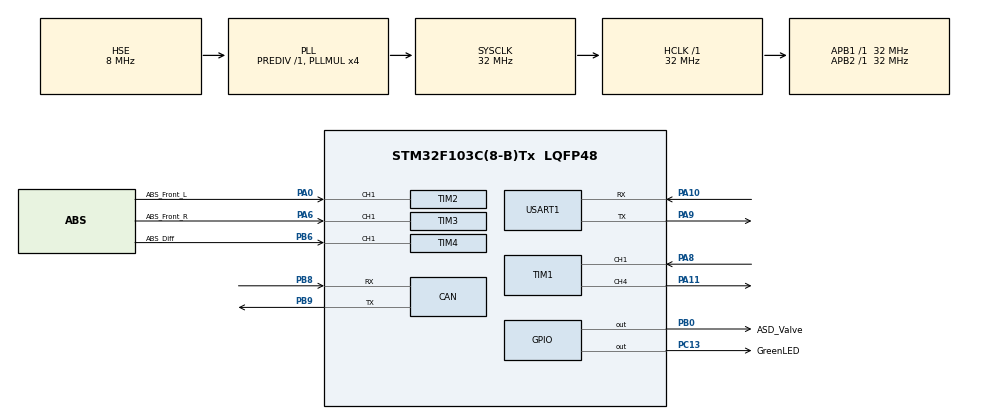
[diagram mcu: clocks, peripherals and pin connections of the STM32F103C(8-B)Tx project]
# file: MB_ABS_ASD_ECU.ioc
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CAN.CalculateTimeBit=1500
CAN.CalculateTimeQuantum=500.0
Mcu.Family=STM32F1
Mcu.Name=STM32F103C(8-B)Tx
Mcu.Package=LQFP48
NVIC.PriorityGroup=NVIC_PRIORITYGROUP_4
NVIC.TIM1_CC_IRQn=true\:0\:0\:false\:false\:true\:true
NVIC.TIM2_IRQn=true\:0\:0\:false\:false\:true\:true
NVIC.TIM3_IRQn=true\:0\:0\:false\:false\:true\:true
NVIC.TIM4_IRQn=true\:0\:0\:false\:false\:true\:true
PA0-WKUP.GPIO_Label=ABS_Front_L
PA0-WKUP.GPIO_PuPd=GPIO_PULLDOWN
PA0-WKUP.Signal=S_TIM2_CH1_ETR
PA10.Mode=Asynchronous
PA10.Signal=USART1_RX
PA11.Signal=S_TIM1_CH4
PA13.Mode=Serial_Wire
PA13.Signal=SYS_JTMS-SWDIO
PA14.Mode=Serial_Wire
PA14.Signal=SYS_JTCK-SWCLK
PA6.GPIO_Label=ABS_Front_R
PA6.GPIO_PuPd=GPIO_PULLDOWN
PA6.Signal=S_TIM3_CH1
PA8.Signal=S_TIM1_CH1
PA9.Mode=Asynchronous
PA9.Signal=USART1_TX
PB0.GPIO_Label=ASD_Valve
PB0.Signal=GPIO_Output
PB6.GPIO_Label=ABS_Diff
PB6.GPIO_PuPd=GPIO_PULLDOWN
PB6.Signal=S_TIM4_CH1
PB8.Mode=Master
PB8.Signal=CAN_RX
PB9.Mode=Master
PB9.Signal=CAN_TX
PC13-TAMPER-RTC.GPIO_Label=GreenLED
PC13-TAMPER-RTC.Signal=GPIO_Output
PC14-OSC32_IN.Mode=LSE-External-Oscillator
PC14-OSC32_IN.Signal=RCC_OSC32_IN
PC15-OSC32_OUT.Mode=LSE-External-Oscillator
PC15-OSC32_OUT.Signal=RCC_OSC32_OUT
PD0-OSC_IN.Mode=HSE-External-Oscillator
PD0-OSC_IN.Signal=RCC_OSC_IN
PD1-OSC_OUT.Mode=HSE-External-Oscillator
PD1-OSC_OUT.Signal=RCC_OSC_OUT
ProjectManager.HeapSize=0x200
ProjectManager.StackSize=0x400
ProjectManager.TargetToolchain=TrueSTUDIO
RCC.AHBFreq_Value=32000000
RCC.APB1Freq_Value=32000000
RCC.APB1TimFreq_Value=32000000
RCC.APB2Freq_Value=32000000
RCC.APB2TimFreq_Value=32000000
RCC.HCLKFreq_Value=32000000
RCC.PLLMUL=RCC_PLL_MUL4
RCC.PLLSourceVirtual=RCC_PLLSOURCE_HSE
RCC.SYSCLKFreq_VALUE=32000000
RCC.SYSCLKSource=RCC_SYSCLKSOURCE_PLLCLK
RCC.USBFreq_Value=32000000
SH.S_TIM1_CH1.0=TIM1_CH1,TriggerSource_TI1FP1
SH.S_TIM1_CH4.0=TIM1_CH4,PWM Generation4 CH4
SH.S_TIM2_CH1_ETR.0=TIM2_CH1,Input_Capture1_from_TI1
SH.S_TIM3_CH1.0=TIM3_CH1,Input_Capture1_from_TI1
SH.S_TIM4_CH1.0=TIM4_CH1,Input_Capture1_from_TI1
TIM1.Channel-PWM\ Generation4\ CH4=TIM_CHANNEL_4
TIM2.Channel-Input_Capture1_from_TI1=TIM_CHANNEL_1
TIM2.ICFilter_CH1=0xf
TIM2.ICPrescaler-Input_Capture1_from_TI1=TIM_ICPSC_DIV8
TIM2.Period=0xffff
TIM2.Prescaler=319
TIM2.TIM_MasterOutputTrigger=TIM_TRGO_RESET
TIM3.Channel-Input_Capture1_from_TI1=TIM_CHANNEL_1
TIM3.ICFilter_CH1=0xf
TIM3.ICPrescaler-Input_Capture1_from_TI1=TIM_ICPSC_DIV8
TIM3.Period=0xffff
TIM3.Prescaler=319
TIM4.Channel-Input_Capture1_from_TI1=TIM_CHANNEL_1
TIM4.ICFilter_CH1=0xf
TIM4.ICPrescaler-Input_Capture1_from_TI1=TIM_ICPSC_DIV8
TIM4.Period=0xffff
TIM4.Prescaler=319
USART1.VirtualMode=VM_ASYNC
VP_TIM1_VS_ClockSourceINT.Mode=Internal
VP_TIM1_VS_ControllerModeReset.Mode=Reset Mode
VP_TIM2_VS_ClockSourceINT.Mode=Internal
VP_TIM3_VS_ClockSourceINT.Mode=Internal
VP_TIM4_VS_ClockSourceINT.Mode=Internal
board=MB_ABS_ASD_ECU

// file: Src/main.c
/**
  ******************************************************************************
  * @file           : main.c
  * @brief          : Main program body
  ******************************************************************************
  ** This notice applies to any and all portions of this file
  * that are not between comment pairs USER CODE BEGIN and
  * USER CODE END. Other portions of this file, whether
  * inserted by the user or by software development tools
  * are owned by their respective copyright owners.
  *
  * COPYRIGHT(c) 2019 STMicroelectronics
  *
  * Redistribution and use in source and binary forms, with or without modification,
  * are permitted provided that the following conditions are met:
  *   1. Redistributions of source code must retain the above copyright notice,
  *      this list of conditions and the following disclaimer.
  *   2. Redistributions in binary form must reproduce the above copyright notice,
  *      this list of conditions and the following disclaimer in the documentation
  *      and/or other materials provided with the distribution.
  *   3. Neither the name of STMicroelectronics nor the names of its contributors
  *      may be used to endorse or promote products derived from this software
  *      without specific prior written permission.
  *
  * THIS SOFTWARE IS PROVIDED BY THE COPYRIGHT HOLDERS AND CONTRIBUTORS "AS IS"
  * AND ANY EXPRESS OR IMPLIED WARRANTIES, INCLUDING, BUT NOT LIMITED TO, THE
  * IMPLIED WARRANTIES OF MERCHANTABILITY AND FITNESS FOR A PARTICULAR PURPOSE ARE
  * DISCLAIMED. IN NO EVENT SHALL THE COPYRIGHT HOLDER OR CONTRIBUTORS BE LIABLE
  * FOR ANY DIRECT, INDIRECT, INCIDENTAL, SPECIAL, EXEMPLARY, OR CONSEQUENTIAL
  * DAMAGES (INCLUDING, BUT NOT LIMITED TO, PROCUREMENT OF SUBSTITUTE GOODS OR
  * SERVICES; LOSS OF USE, DATA, OR PROFITS; OR BUSINESS INTERRUPTION) HOWEVER
  * CAUSED AND ON ANY THEORY OF LIABILITY, WHETHER IN CONTRACT, STRICT LIABILITY,
  * OR TORT (INCLUDING NEGLIGENCE OR OTHERWISE) ARISING IN ANY WAY OUT OF THE USE
  * OF THIS SOFTWARE, EVEN IF ADVISED OF THE POSSIBILITY OF SUCH DAMAGE.
  *
  ******************************************************************************
  */
#include "main.h"
#include "stm32f1xx_hal.h"

/* USER CODE BEGIN Includes */

#include "eeprom.h"
#include "cli.h"
#include "led_blink.h"
#include "asd_ecu.h"

/* USER CODE END Includes */

CAN_HandleTypeDef hcan;

TIM_HandleTypeDef htim1;
TIM_HandleTypeDef htim2;
TIM_HandleTypeDef htim3;
TIM_HandleTypeDef htim4;

UART_HandleTypeDef huart1;

/* USER CODE BEGIN PV */
/* Private variables ---------------------------------------------------------*/

/* USER CODE END PV */

void SystemClock_Config(void);
static void MX_GPIO_Init(void);
static void MX_CAN_Init(void);
static void MX_TIM1_Init(void);
static void MX_TIM2_Init(void);
static void MX_TIM3_Init(void);
static void MX_TIM4_Init(void);
static void MX_USART1_UART_Init(void);

void HAL_TIM_MspPostInit(TIM_HandleTypeDef *htim);

/* USER CODE BEGIN PFP */
/* Private function prototypes -----------------------------------------------*/

extern void Restore_Settings(void);

/* USER CODE END PFP */

/* USER CODE BEGIN 0 */

/**
  * @brief  Retargets the C library printf function to the USART.
  * @param  None
  * @retval None
  */
PUTCHAR_PROTOTYPE
{
  /* Place your implementation of fputc here */
  /* e.g. write a character to the USART1 and Loop until the end of transmission */
  HAL_UART_Transmit(&huart1, (uint8_t *)&ch, 1, 0xFFFF);
  return ch;
}

/* USER CODE END 0 */

int main(void)
{

  /* MCU Configuration----------------------------------------------------------*/

  /* Reset of all peripherals, Initializes the Flash interface and the Systick. */
  HAL_Init();

  /* USER CODE BEGIN Init */

  /* Unlock the Flash Program Erase controller */
  HAL_FLASH_Unlock();

  /* EEPROM Init */
  EE_Init();

  /* Lock the Flash Program Erase controller */
  HAL_FLASH_Lock();

  /* USER CODE END Init */

  /* Configure the system clock */
  SystemClock_Config();

  /* Initialize all configured peripherals */
  MX_GPIO_Init();
  MX_CAN_Init();
  MX_TIM1_Init();
  MX_TIM2_Init();
  MX_TIM3_Init();
  MX_TIM4_Init();
  MX_USART1_UART_Init();
  /* USER CODE BEGIN 2 */

	// Restore some data from EEPROM
	Restore_Settings();

	HAL_TIM_Base_Start_IT(&htim2);
	HAL_TIM_IC_Start_IT(&htim2, TIM_CHANNEL_1);
	HAL_TIM_Base_Start_IT(&htim3);
	HAL_TIM_IC_Start_IT(&htim3, TIM_CHANNEL_1);
	HAL_TIM_Base_Start_IT(&htim4);
	HAL_TIM_IC_Start_IT(&htim4, TIM_CHANNEL_1);

  /* USER CODE END 2 */

  /* Infinite loop */
  while (1)
  {

  /* USER CODE BEGIN 3 */

	  // Blink LED -> we can see it's alive
	  LedBlink_run();

	  CLI_run();

  }
  /* USER CODE END 3 */

}

void SystemClock_Config(void)
{

  RCC_OscInitTypeDef RCC_OscInitStruct;
  RCC_ClkInitTypeDef RCC_ClkInitStruct;

    /**Initializes the CPU, AHB and APB busses clocks
    */
  RCC_OscInitStruct.OscillatorType = RCC_OSCILLATORTYPE_HSE;
  RCC_OscInitStruct.HSEState = RCC_HSE_ON;
  RCC_OscInitStruct.HSEPredivValue = RCC_HSE_PREDIV_DIV1;
  RCC_OscInitStruct.HSIState = RCC_HSI_ON;
  RCC_OscInitStruct.PLL.PLLState = RCC_PLL_ON;
  RCC_OscInitStruct.PLL.PLLSource = RCC_PLLSOURCE_HSE;
  RCC_OscInitStruct.PLL.PLLMUL = RCC_PLL_MUL4;
  if (HAL_RCC_OscConfig(&RCC_OscInitStruct) != HAL_OK)
  {
    _Error_Handler(__FILE__, __LINE__);
  }

    /**Initializes the CPU, AHB and APB busses clocks
    */
  RCC_ClkInitStruct.ClockType = RCC_CLOCKTYPE_HCLK|RCC_CLOCKTYPE_SYSCLK
                              |RCC_CLOCKTYPE_PCLK1|RCC_CLOCKTYPE_PCLK2;
  RCC_ClkInitStruct.SYSCLKSource = RCC_SYSCLKSOURCE_PLLCLK;
  RCC_ClkInitStruct.AHBCLKDivider = RCC_SYSCLK_DIV1;
  RCC_ClkInitStruct.APB1CLKDivider = RCC_HCLK_DIV1;
  RCC_ClkInitStruct.APB2CLKDivider = RCC_HCLK_DIV1;

  if (HAL_RCC_ClockConfig(&RCC_ClkInitStruct, FLASH_LATENCY_1) != HAL_OK)
  {
    _Error_Handler(__FILE__, __LINE__);
  }

    /**Configure the Systick interrupt time
    */
  HAL_SYSTICK_Config(HAL_RCC_GetHCLKFreq()/1000);

    /**Configure the Systick
    */
  HAL_SYSTICK_CLKSourceConfig(SYSTICK_CLKSOURCE_HCLK);

  /* SysTick_IRQn interrupt configuration */
  HAL_NVIC_SetPriority(SysTick_IRQn, 0, 0);
}

/* CAN init function */
static void MX_CAN_Init(void)
{

  hcan.Instance = CAN1;
  hcan.Init.Prescaler = 16;
  hcan.Init.Mode = CAN_MODE_NORMAL;
  hcan.Init.SJW = CAN_SJW_1TQ;
  hcan.Init.BS1 = CAN_BS1_1TQ;
  hcan.Init.BS2 = CAN_BS2_1TQ;
  hcan.Init.TTCM = DISABLE;
  hcan.Init.ABOM = DISABLE;
  hcan.Init.AWUM = DISABLE;
  hcan.Init.NART = DISABLE;
  hcan.Init.RFLM = DISABLE;
  hcan.Init.TXFP = DISABLE;
  if (HAL_CAN_Init(&hcan) != HAL_OK)
  {
    _Error_Handler(__FILE__, __LINE__);
  }

}

/* TIM1 init function */
static void MX_TIM1_Init(void)
{

  TIM_ClockConfigTypeDef sClockSourceConfig;
  TIM_SlaveConfigTypeDef sSlaveConfig;
  TIM_MasterConfigTypeDef sMasterConfig;
  TIM_OC_InitTypeDef sConfigOC;
  TIM_BreakDeadTimeConfigTypeDef sBreakDeadTimeConfig;

  htim1.Instance = TIM1;
  htim1.Init.Prescaler = 0;
  htim1.Init.CounterMode = TIM_COUNTERMODE_UP;
  htim1.Init.Period = 0;
  htim1.Init.ClockDivision = TIM_CLOCKDIVISION_DIV1;
  htim1.Init.RepetitionCounter = 0;
  htim1.Init.AutoReloadPreload = TIM_AUTORELOAD_PRELOAD_DISABLE;
  if (HAL_TIM_Base_Init(&htim1) != HAL_OK)
  {
    _Error_Handler(__FILE__, __LINE__);
  }

  sClockSourceConfig.ClockSource = TIM_CLOCKSOURCE_INTERNAL;
  if (HAL_TIM_ConfigClockSource(&htim1, &sClockSourceConfig) != HAL_OK)
  {
    _Error_Handler(__FILE__, __LINE__);
  }

  if (HAL_TIM_PWM_Init(&htim1) != HAL_OK)
  {
    _Error_Handler(__FILE__, __LINE__);
  }

  sSlaveConfig.SlaveMode = TIM_SLAVEMODE_RESET;
  sSlaveConfig.InputTrigger = TIM_TS_TI1FP1;
  sSlaveConfig.TriggerPolarity = TIM_TRIGGERPOLARITY_RISING;
  sSlaveConfig.TriggerFilter = 0;
  if (HAL_TIM_SlaveConfigSynchronization(&htim1, &sSlaveConfig) != HAL_OK)
  {
    _Error_Handler(__FILE__, __LINE__);
  }

  sMasterConfig.MasterOutputTrigger = TIM_TRGO_RESET;
  sMasterConfig.MasterSlaveMode = TIM_MASTERSLAVEMODE_DISABLE;
  if (HAL_TIMEx_MasterConfigSynchronization(&htim1, &sMasterConfig) != HAL_OK)
  {
    _Error_Handler(__FILE__, __LINE__);
  }

  sConfigOC.OCMode = TIM_OCMODE_PWM1;
  sConfigOC.Pulse = 0;
  sConfigOC.OCPolarity = TIM_OCPOLARITY_HIGH;
  sConfigOC.OCFastMode = TIM_OCFAST_DISABLE;
  sConfigOC.OCIdleState = TIM_OCIDLESTATE_RESET;
  sConfigOC.OCNIdleState = TIM_OCNIDLESTATE_RESET;
  if (HAL_TIM_PWM_ConfigChannel(&htim1, &sConfigOC, TIM_CHANNEL_4) != HAL_OK)
  {
    _Error_Handler(__FILE__, __LINE__);
  }

  sBreakDeadTimeConfig.OffStateRunMode = TIM_OSSR_DISABLE;
  sBreakDeadTimeConfig.OffStateIDLEMode = TIM_OSSI_DISABLE;
  sBreakDeadTimeConfig.LockLevel = TIM_LOCKLEVEL_OFF;
  sBreakDeadTimeConfig.DeadTime = 0;
  sBreakDeadTimeConfig.BreakState = TIM_BREAK_DISABLE;
  sBreakDeadTimeConfig.BreakPolarity = TIM_BREAKPOLARITY_HIGH;
  sBreakDeadTimeConfig.AutomaticOutput = TIM_AUTOMATICOUTPUT_DISABLE;
  if (HAL_TIMEx_ConfigBreakDeadTime(&htim1, &sBreakDeadTimeConfig) != HAL_OK)
  {
    _Error_Handler(__FILE__, __LINE__);
  }

  HAL_TIM_MspPostInit(&htim1);

}

/* TIM2 init function */
static void MX_TIM2_Init(void)
{

  TIM_ClockConfigTypeDef sClockSourceConfig;
  TIM_MasterConfigTypeDef sMasterConfig;
  TIM_IC_InitTypeDef sConfigIC;

  htim2.Instance = TIM2;
  htim2.Init.Prescaler = 319;
  htim2.Init.CounterMode = TIM_COUNTERMODE_UP;
  htim2.Init.Period = 0xffff;
  htim2.Init.ClockDivision = TIM_CLOCKDIVISION_DIV1;
  htim2.Init.AutoReloadPreload = TIM_AUTORELOAD_PRELOAD_DISABLE;
  if (HAL_TIM_Base_Init(&htim2) != HAL_OK)
  {
    _Error_Handler(__FILE__, __LINE__);
  }

  sClockSourceConfig.ClockSource = TIM_CLOCKSOURCE_INTERNAL;
  if (HAL_TIM_ConfigClockSource(&htim2, &sClockSourceConfig) != HAL_OK)
  {
    _Error_Handler(__FILE__, __LINE__);
  }

  if (HAL_TIM_IC_Init(&htim2) != HAL_OK)
  {
    _Error_Handler(__FILE__, __LINE__);
  }

  sMasterConfig.MasterOutputTrigger = TIM_TRGO_RESET;
  sMasterConfig.MasterSlaveMode = TIM_MASTERSLAVEMODE_DISABLE;
  if (HAL_TIMEx_MasterConfigSynchronization(&htim2, &sMasterConfig) != HAL_OK)
  {
    _Error_Handler(__FILE__, __LINE__);
  }

  sConfigIC.ICPolarity = TIM_INPUTCHANNELPOLARITY_RISING;
  sConfigIC.ICSelection = TIM_ICSELECTION_DIRECTTI;
  sConfigIC.ICPrescaler = TIM_ICPSC_DIV8;
  sConfigIC.ICFilter = 0xf;
  if (HAL_TIM_IC_ConfigChannel(&htim2, &sConfigIC, TIM_CHANNEL_1) != HAL_OK)
  {
    _Error_Handler(__FILE__, __LINE__);
  }

}

/* TIM3 init function */
static void MX_TIM3_Init(void)
{

  TIM_ClockConfigTypeDef sClockSourceConfig;
  TIM_MasterConfigTypeDef sMasterConfig;
  TIM_IC_InitTypeDef sConfigIC;

  htim3.Instance = TIM3;
  htim3.Init.Prescaler = 319;
  htim3.Init.CounterMode = TIM_COUNTERMODE_UP;
  htim3.Init.Period = 0xffff;
  htim3.Init.ClockDivision = TIM_CLOCKDIVISION_DIV1;
  htim3.Init.AutoReloadPreload = TIM_AUTORELOAD_PRELOAD_DISABLE;
  if (HAL_TIM_Base_Init(&htim3) != HAL_OK)
  {
    _Error_Handler(__FILE__, __LINE__);
  }

  sClockSourceConfig.ClockSource = TIM_CLOCKSOURCE_INTERNAL;
  if (HAL_TIM_ConfigClockSource(&htim3, &sClockSourceConfig) != HAL_OK)
  {
    _Error_Handler(__FILE__, __LINE__);
  }

  if (HAL_TIM_IC_Init(&htim3) != HAL_OK)
  {
    _Error_Handler(__FILE__, __LINE__);
  }

  sMasterConfig.MasterOutputTrigger = TIM_TRGO_RESET;
  sMasterConfig.MasterSlaveMode = TIM_MASTERSLAVEMODE_DISABLE;
  if (HAL_TIMEx_MasterConfigSynchronization(&htim3, &sMasterConfig) != HAL_OK)
  {
    _Error_Handler(__FILE__, __LINE__);
  }

  sConfigIC.ICPolarity = TIM_INPUTCHANNELPOLARITY_RISING;
  sConfigIC.ICSelection = TIM_ICSELECTION_DIRECTTI;
  sConfigIC.ICPrescaler = TIM_ICPSC_DIV8;
  sConfigIC.ICFilter = 0xf;
  if (HAL_TIM_IC_ConfigChannel(&htim3, &sConfigIC, TIM_CHANNEL_1) != HAL_OK)
  {
    _Error_Handler(__FILE__, __LINE__);
  }

}

/* TIM4 init function */
static void MX_TIM4_Init(void)
{

  TIM_ClockConfigTypeDef sClockSourceConfig;
  TIM_MasterConfigTypeDef sMasterConfig;
  TIM_IC_InitTypeDef sConfigIC;

  htim4.Instance = TIM4;
  htim4.Init.Prescaler = 319;
  htim4.Init.CounterMode = TIM_COUNTERMODE_UP;
  htim4.Init.Period = 0xffff;
  htim4.Init.ClockDivision = TIM_CLOCKDIVISION_DIV1;
  htim4.Init.AutoReloadPreload = TIM_AUTORELOAD_PRELOAD_DISABLE;
  if (HAL_TIM_Base_Init(&htim4) != HAL_OK)
  {
    _Error_Handler(__FILE__, __LINE__);
  }

  sClockSourceConfig.ClockSource = TIM_CLOCKSOURCE_INTERNAL;
  if (HAL_TIM_ConfigClockSource(&htim4, &sClockSourceConfig) != HAL_OK)
  {
    _Error_Handler(__FILE__, __LINE__);
  }

  if (HAL_TIM_IC_Init(&htim4) != HAL_OK)
  {
    _Error_Handler(__FILE__, __LINE__);
  }

  sMasterConfig.MasterOutputTrigger = TIM_TRGO_RESET;
  sMasterConfig.MasterSlaveMode = TIM_MASTERSLAVEMODE_DISABLE;
  if (HAL_TIMEx_MasterConfigSynchronization(&htim4, &sMasterConfig) != HAL_OK)
  {
    _Error_Handler(__FILE__, __LINE__);
  }

  sConfigIC.ICPolarity = TIM_INPUTCHANNELPOLARITY_RISING;
  sConfigIC.ICSelection = TIM_ICSELECTION_DIRECTTI;
  sConfigIC.ICPrescaler = TIM_ICPSC_DIV8;
  sConfigIC.ICFilter = 0xf;
  if (HAL_TIM_IC_ConfigChannel(&htim4, &sConfigIC, TIM_CHANNEL_1) != HAL_OK)
  {
    _Error_Handler(__FILE__, __LINE__);
  }

}

/* USART1 init function */
static void MX_USART1_UART_Init(void)
{

  huart1.Instance = USART1;
  huart1.Init.BaudRate = 115200;
  huart1.Init.WordLength = UART_WORDLENGTH_8B;
  huart1.Init.StopBits = UART_STOPBITS_1;
  huart1.Init.Parity = UART_PARITY_NONE;
  huart1.Init.Mode = UART_MODE_TX_RX;
  huart1.Init.HwFlowCtl = UART_HWCONTROL_NONE;
  huart1.Init.OverSampling = UART_OVERSAMPLING_16;
  if (HAL_UART_Init(&huart1) != HAL_OK)
  {
    _Error_Handler(__FILE__, __LINE__);
  }

}

/** Configure pins as
        * Analog
        * Input
        * Output
        * EVENT_OUT
        * EXTI
*/
static void MX_GPIO_Init(void)
{

  GPIO_InitTypeDef GPIO_InitStruct;

  /* GPIO Ports Clock Enable */
  __HAL_RCC_GPIOC_CLK_ENABLE();
  __HAL_RCC_GPIOD_CLK_ENABLE();
  __HAL_RCC_GPIOA_CLK_ENABLE();
  __HAL_RCC_GPIOB_CLK_ENABLE();

  /*Configure GPIO pin Output Level */
  HAL_GPIO_WritePin(GreenLED_GPIO_Port, GreenLED_Pin, GPIO_PIN_RESET);

  /*Configure GPIO pin Output Level */
  HAL_GPIO_WritePin(ASD_Valve_GPIO_Port, ASD_Valve_Pin, GPIO_PIN_RESET);

  /*Configure GPIO pin : GreenLED_Pin */
  GPIO_InitStruct.Pin = GreenLED_Pin;
  GPIO_InitStruct.Mode = GPIO_MODE_OUTPUT_PP;
  GPIO_InitStruct.Pull = GPIO_NOPULL;
  GPIO_InitStruct.Speed = GPIO_SPEED_FREQ_LOW;
  HAL_GPIO_Init(GreenLED_GPIO_Port, &GPIO_InitStruct);

  /*Configure GPIO pin : ASD_Valve_Pin */
  GPIO_InitStruct.Pin = ASD_Valve_Pin;
  GPIO_InitStruct.Mode = GPIO_MODE_OUTPUT_PP;
  GPIO_InitStruct.Pull = GPIO_NOPULL;
  GPIO_InitStruct.Speed = GPIO_SPEED_FREQ_LOW;
  HAL_GPIO_Init(ASD_Valve_GPIO_Port, &GPIO_InitStruct);

}

void _Error_Handler(char *file, int line)
{
  while(1)
  {
  }
}

/************************ (C) COPYRIGHT STMicroelectronics *****END OF FILE****/
